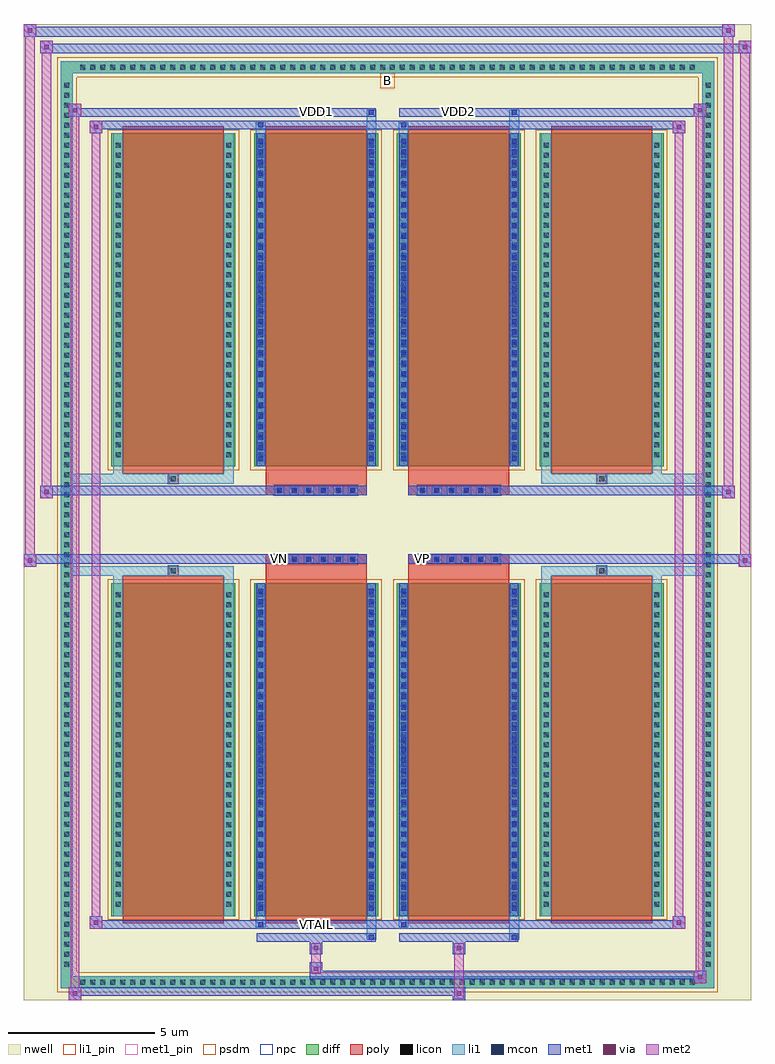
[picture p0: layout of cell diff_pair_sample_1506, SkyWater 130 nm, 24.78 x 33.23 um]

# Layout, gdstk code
import gdstk
lib = gdstk.Library(unit=1e-6, precision=5e-09)
def R(c, l, rs):  # rectangles x0, y0, x1, y1
    for r in rs: c.add(gdstk.rectangle(r[:2], r[2:], *l))
def A(c, l, x, y, w, h, nx, ny, dx, dy):  # array of equal rectangles
    R(c, l, [(x+i*dx, y+j*dy, x+i*dx+w, y+j*dy+h) for i in range(nx) for j in range(ny)])
def P(c, l, *ps):  # polygons
    for p in ps: c.add(gdstk.Polygon(p, *l))
nwell = (64, 20)
diff = (65, 20)
poly = (66, 20)
licon = (66, 44)
li1_pin = (67, 16)
li1 = (67, 20)
mcon = (67, 44)
met1_pin = (68, 16)
met1 = (68, 20)
via = (68, 44)
met2 = (69, 20)
psdm = (94, 20)
npc = (95, 20)

diff_pair_sample_1506 = lib.new_cell('diff_pair_sample_1506')
R(diff_pair_sample_1506, nwell, [(-12.39,-16.18,12.39,17.05), (-9.71,-14.37,-0.01,-0.805), (0.01,-14.37,9.71,-0.805), (-9.71,0.805,-0.01,14.37), (0.01,0.805,9.71,14.37)])
A(diff_pair_sample_1506, diff, -10.575, -15.78, 0.41, 0.41, 62, 2, 0.34, 31.15)
A(diff_pair_sample_1506, diff, -11.12, -15.165, 0.41, 0.41, 1, 89, 0, 0.34)
A(diff_pair_sample_1506, diff, 10.71, -15.165, 0.41, 0.41, 1, 89, 0, 0.34)
A(diff_pair_sample_1506, diff, -9.4, -13.325, 4.22, 11.34, 4, 2, 4.86, 15.31)
R(diff_pair_sample_1506, diff, [(-10.575,-15.78,10.575,-15.37), (-11.12,-15.165,-10.71,15.165), (10.71,-15.165,11.12,15.165), (-10.575,15.37,10.575,15.78)])
P(diff_pair_sample_1506, diff, [(11.12,15.78),(-11.12,15.78),(-11.12,-15.37),(-10.71,-15.37),(-10.71,15.37),(10.71,15.37),(10.71,-15.37),(-10.71,-15.37),(-11.12,-15.37),(-11.12,-15.78),(11.12,-15.78)])
A(diff_pair_sample_1506, poly, -9.01, -13.575, 3.44, 11.84, 4, 2, 4.86, 15.31)
A(diff_pair_sample_1506, poly, -3.845, -1.335, 0.33, 0.33, 6, 2, 0.5, 2.34)
A(diff_pair_sample_1506, poly, 1.015, -1.335, 0.33, 0.33, 6, 2, 0.5, 2.34)
R(diff_pair_sample_1506, poly, [(-7.455,-1.735,-7.125,-1.405), (-7.455,-1.735,-7.125,-1.405), (-4.15,-1.735,-0.71,-1.335), (0.71,-1.735,4.15,-1.335), (7.125,-1.735,7.455,-1.405), (7.125,-1.735,7.455,-1.405), (-4.15,-1.335,-0.71,-1.005), (0.71,-1.335,4.15,-1.005), (-4.15,1.005,-0.71,1.335), (0.71,1.005,4.15,1.335), (-4.15,1.335,-0.71,1.735), (0.71,1.335,4.15,1.735), (-7.455,1.405,-7.125,1.735), (-7.455,1.405,-7.125,1.735), (7.125,1.405,7.455,1.735), (7.125,1.405,7.455,1.735)])
A(diff_pair_sample_1506, licon, -10.455, -15.66, 0.17, 0.17, 62, 2, 0.34, 31.15)
A(diff_pair_sample_1506, licon, -11, -15.045, 0.17, 0.17, 1, 89, 0, 0.34)
A(diff_pair_sample_1506, licon, 10.83, -15.045, 0.17, 0.17, 1, 89, 0, 0.34)
A(diff_pair_sample_1506, licon, -9.26, -13.01, 0.17, 0.17, 1, 32, 0, 0.34)
A(diff_pair_sample_1506, licon, -5.49, -13.01, 0.17, 0.17, 1, 32, 0, 0.34)
A(diff_pair_sample_1506, licon, -4.4, -13.01, 0.17, 0.17, 1, 32, 0, 0.34)
A(diff_pair_sample_1506, licon, -0.63, -13.01, 0.17, 0.17, 1, 32, 0, 0.34)
A(diff_pair_sample_1506, licon, 0.46, -13.01, 0.17, 0.17, 1, 32, 0, 0.34)
A(diff_pair_sample_1506, licon, 4.23, -13.01, 0.17, 0.17, 1, 32, 0, 0.34)
A(diff_pair_sample_1506, licon, 5.32, -13.01, 0.17, 0.17, 1, 32, 0, 0.34)
A(diff_pair_sample_1506, licon, 9.09, -13.01, 0.17, 0.17, 1, 32, 0, 0.34)
A(diff_pair_sample_1506, licon, -3.765, -1.255, 0.17, 0.17, 6, 2, 0.5, 2.34)
A(diff_pair_sample_1506, licon, 1.095, -1.255, 0.17, 0.17, 6, 2, 0.5, 2.34)
A(diff_pair_sample_1506, licon, -9.26, 2.3, 0.17, 0.17, 1, 32, 0, 0.34)
A(diff_pair_sample_1506, licon, -5.49, 2.3, 0.17, 0.17, 1, 32, 0, 0.34)
A(diff_pair_sample_1506, licon, -4.4, 2.3, 0.17, 0.17, 1, 32, 0, 0.34)
A(diff_pair_sample_1506, licon, -0.63, 2.3, 0.17, 0.17, 1, 32, 0, 0.34)
A(diff_pair_sample_1506, licon, 0.46, 2.3, 0.17, 0.17, 1, 32, 0, 0.34)
A(diff_pair_sample_1506, licon, 4.23, 2.3, 0.17, 0.17, 1, 32, 0, 0.34)
A(diff_pair_sample_1506, licon, 5.32, 2.3, 0.17, 0.17, 1, 32, 0, 0.34)
A(diff_pair_sample_1506, licon, 9.09, 2.3, 0.17, 0.17, 1, 32, 0, 0.34)
R(diff_pair_sample_1506, licon, [(-7.375,-1.655,-7.205,-1.485), (7.205,-1.655,7.375,-1.485), (-7.375,1.485,-7.205,1.655), (7.205,1.485,7.375,1.655)])
R(diff_pair_sample_1506, li1_pin, [(-0.25,14.87,0.25,15.37)])
A(diff_pair_sample_1506, li1, -10.535, -15.74, 0.33, 0.33, 62, 2, 0.34, 31.15)
A(diff_pair_sample_1506, li1, -11.08, -15.125, 0.33, 0.33, 1, 89, 0, 0.34)
A(diff_pair_sample_1506, li1, 10.75, -15.125, 0.33, 0.33, 1, 89, 0, 0.34)
A(diff_pair_sample_1506, li1, -4.4, -13.14, 0.17, 0.17, 1, 31, 0, 0.36)
A(diff_pair_sample_1506, li1, -0.63, -13.14, 0.17, 0.17, 1, 31, 0, 0.36)
A(diff_pair_sample_1506, li1, 0.46, -13.14, 0.17, 0.17, 1, 31, 0, 0.36)
A(diff_pair_sample_1506, li1, 4.23, -13.14, 0.17, 0.17, 1, 31, 0, 0.36)
A(diff_pair_sample_1506, li1, -9.34, -13.09, 0.33, 0.33, 1, 32, 0, 0.34)
A(diff_pair_sample_1506, li1, -5.57, -13.09, 0.33, 0.33, 1, 32, 0, 0.34)
A(diff_pair_sample_1506, li1, -4.48, -13.09, 0.33, 0.33, 1, 32, 0, 0.34)
A(diff_pair_sample_1506, li1, -0.71, -13.09, 0.33, 0.33, 1, 32, 0, 0.34)
A(diff_pair_sample_1506, li1, 0.38, -13.09, 0.33, 0.33, 1, 32, 0, 0.34)
A(diff_pair_sample_1506, li1, 4.15, -13.09, 0.33, 0.33, 1, 32, 0, 0.34)
A(diff_pair_sample_1506, li1, 5.24, -13.09, 0.33, 0.33, 1, 32, 0, 0.34)
A(diff_pair_sample_1506, li1, 9.01, -13.09, 0.33, 0.33, 1, 32, 0, 0.34)
A(diff_pair_sample_1506, li1, -3.845, -1.335, 0.33, 0.33, 6, 2, 0.5, 2.34)
A(diff_pair_sample_1506, li1, 1.015, -1.335, 0.33, 0.33, 6, 2, 0.5, 2.34)
A(diff_pair_sample_1506, li1, -4.4, 2.17, 0.17, 0.17, 1, 31, 0, 0.36)
A(diff_pair_sample_1506, li1, -0.63, 2.17, 0.17, 0.17, 1, 31, 0, 0.36)
A(diff_pair_sample_1506, li1, 0.46, 2.17, 0.17, 0.17, 1, 31, 0, 0.36)
A(diff_pair_sample_1506, li1, 4.23, 2.17, 0.17, 0.17, 1, 31, 0, 0.36)
A(diff_pair_sample_1506, li1, -9.34, 2.22, 0.33, 0.33, 1, 32, 0, 0.34)
A(diff_pair_sample_1506, li1, -5.57, 2.22, 0.33, 0.33, 1, 32, 0, 0.34)
A(diff_pair_sample_1506, li1, -4.48, 2.22, 0.33, 0.33, 1, 32, 0, 0.34)
A(diff_pair_sample_1506, li1, -0.71, 2.22, 0.33, 0.33, 1, 32, 0, 0.34)
A(diff_pair_sample_1506, li1, 0.38, 2.22, 0.33, 0.33, 1, 32, 0, 0.34)
A(diff_pair_sample_1506, li1, 4.15, 2.22, 0.33, 0.33, 1, 32, 0, 0.34)
A(diff_pair_sample_1506, li1, 5.24, 2.22, 0.33, 0.33, 1, 32, 0, 0.34)
A(diff_pair_sample_1506, li1, 9.01, 2.22, 0.33, 0.33, 1, 32, 0, 0.34)
R(diff_pair_sample_1506, li1, [(-11.12,-15.78,-10.71,-15.37), (-11.12,-15.78,-10.71,-15.37), (-10.71,-15.78,10.71,-15.37), (10.71,-15.78,11.12,-15.37), (10.71,-15.78,11.12,-15.37), (-11.12,-15.37,-10.71,15.37), (10.71,-15.37,11.12,15.37), (-0.71,-14.13,-0.38,-13.325), (-0.63,-14.13,-0.46,-13.96), (4.15,-14.13,4.48,-13.325), (4.23,-14.13,4.4,-13.96), (-4.48,-13.7,-4.15,-13.325), (-4.4,-13.7,-4.23,-13.53), (0.38,-13.7,0.71,-13.325), (0.46,-13.7,0.63,-13.53), (-9.34,-13.325,-9.01,-1.985), (-5.57,-13.325,-5.24,-1.985), (-4.48,-13.325,-4.15,-1.985), (-0.71,-13.325,-0.38,-1.985), (0.38,-13.325,0.71,-1.985), (4.15,-13.325,4.48,-1.985), (5.24,-13.325,5.57,-1.985), (9.01,-13.325,9.34,-1.985), (-4.4,-13.14,-4.23,-2.17), (-0.63,-13.14,-0.46,-2.17), (0.46,-13.14,0.63,-2.17), (4.23,-13.14,4.4,-2.17), (-9.34,-1.985,-9.01,-1.405), (-5.57,-1.985,-5.24,-1.405), (5.24,-1.985,5.57,-1.405), (9.01,-1.985,9.34,-1.405), (-11.12,-1.735,-7.455,-1.405), (-9.34,-1.735,-7.455,-1.405), (-7.455,-1.735,-7.125,-1.405), (-7.125,-1.735,-5.24,-1.405), (5.24,-1.735,7.125,-1.405), (7.125,-1.735,7.455,-1.405), (7.125,-1.735,11.12,-1.405), (7.455,-1.735,9.34,-1.405), (-11.12,1.405,-7.455,1.735), (-9.34,1.405,-7.455,1.735), (-9.34,1.405,-9.01,1.985), (-7.455,1.405,-7.125,1.735), (-7.125,1.405,-5.24,1.735), (-5.57,1.405,-5.24,1.985), (5.24,1.405,7.125,1.735), (5.24,1.405,5.57,1.985), (7.125,1.405,7.455,1.735), (7.125,1.405,11.12,1.735), (7.455,1.405,9.34,1.735), (9.01,1.405,9.34,1.985), (-9.34,1.985,-9.01,13.325), (-5.57,1.985,-5.24,13.325), (-4.48,1.985,-4.15,13.325), (-0.71,1.985,-0.38,13.325), (0.38,1.985,0.71,13.325), (4.15,1.985,4.48,13.325), (5.24,1.985,5.57,13.325), (9.01,1.985,9.34,13.325), (-4.4,2.17,-4.23,13.14), (-0.63,2.17,-0.46,13.14), (0.46,2.17,0.63,13.14), (4.23,2.17,4.4,13.14), (-4.48,13.325,-4.15,13.7), (-0.71,13.325,-0.38,14.13), (0.38,13.325,0.71,13.7), (4.15,13.325,4.48,14.13), (-4.4,13.53,-4.23,13.7), (0.46,13.53,0.63,13.7), (-0.63,13.96,-0.46,14.13), (4.23,13.96,4.4,14.13), (-11.12,15.37,-10.71,15.78), (-11.12,15.37,-10.71,15.78), (-10.71,15.37,10.71,15.78), (10.71,15.37,11.12,15.78), (10.71,15.37,11.12,15.78)])
A(diff_pair_sample_1506, mcon, -4.4, -13.14, 0.17, 0.17, 1, 31, 0, 0.36)
A(diff_pair_sample_1506, mcon, -0.63, -13.14, 0.17, 0.17, 1, 31, 0, 0.36)
A(diff_pair_sample_1506, mcon, 0.46, -13.14, 0.17, 0.17, 1, 31, 0, 0.36)
A(diff_pair_sample_1506, mcon, 4.23, -13.14, 0.17, 0.17, 1, 31, 0, 0.36)
A(diff_pair_sample_1506, mcon, -3.765, -1.255, 0.17, 0.17, 6, 2, 0.5, 2.34)
A(diff_pair_sample_1506, mcon, 1.095, -1.255, 0.17, 0.17, 6, 2, 0.5, 2.34)
A(diff_pair_sample_1506, mcon, -4.4, 2.17, 0.17, 0.17, 1, 31, 0, 0.36)
A(diff_pair_sample_1506, mcon, -0.63, 2.17, 0.17, 0.17, 1, 31, 0, 0.36)
A(diff_pair_sample_1506, mcon, 0.46, 2.17, 0.17, 0.17, 1, 31, 0, 0.36)
A(diff_pair_sample_1506, mcon, 4.23, 2.17, 0.17, 0.17, 1, 31, 0, 0.36)
R(diff_pair_sample_1506, mcon, [(-0.63,-14.13,-0.46,-13.96), (4.23,-14.13,4.4,-13.96), (-4.4,-13.7,-4.23,-13.53), (0.46,-13.7,0.63,-13.53), (-4.4,13.53,-4.23,13.7), (0.46,13.53,0.63,13.7), (-0.63,13.96,-0.46,14.13), (4.23,13.96,4.4,14.13)])
R(diff_pair_sample_1506, met1_pin, [(-2.565,-13.74,-2.295,-13.47), (-3.815,-1.295,-3.545,-1.025), (1.045,-1.295,1.315,-1.025), (-2.565,13.92,-2.295,14.19), (2.295,13.92,2.565,14.19)])
A(diff_pair_sample_1506, met1, -4.46, -13.2, 0.29, 0.29, 1, 31, 0, 0.36)
A(diff_pair_sample_1506, met1, -0.69, -13.2, 0.29, 0.29, 1, 31, 0, 0.36)
A(diff_pair_sample_1506, met1, 0.4, -13.2, 0.29, 0.29, 1, 31, 0, 0.36)
A(diff_pair_sample_1506, met1, 4.17, -13.2, 0.29, 0.29, 1, 31, 0, 0.36)
A(diff_pair_sample_1506, met1, -3.825, -1.315, 0.29, 0.29, 6, 2, 0.5, 2.34)
A(diff_pair_sample_1506, met1, 1.035, -1.315, 0.29, 0.29, 6, 2, 0.5, 2.34)
A(diff_pair_sample_1506, met1, -4.46, 2.11, 0.29, 0.29, 1, 31, 0, 0.36)
A(diff_pair_sample_1506, met1, -0.69, 2.11, 0.29, 0.29, 1, 31, 0, 0.36)
A(diff_pair_sample_1506, met1, 0.4, 2.11, 0.29, 0.29, 1, 31, 0, 0.36)
A(diff_pair_sample_1506, met1, 4.17, 2.11, 0.29, 0.29, 1, 31, 0, 0.36)
R(diff_pair_sample_1506, met1, [(-10.85,-16.18,-10.42,-15.75), (2.215,-16.18,2.645,-15.75), (-10.85,-16.04,2.645,-15.75), (10.42,-15.61,10.85,-15.18), (-2.645,-15.47,10.85,-15.18), (-2.645,-15.33,-2.215,-14.9), (-2.645,-14.62,-2.215,-14.19), (2.215,-14.62,2.645,-14.19), (-4.46,-14.19,-0.4,-13.9), (-0.69,-14.19,-0.4,-13.9), (0.4,-14.19,4.46,-13.9), (4.17,-14.19,4.46,-13.9), (-10.14,-13.76,-9.71,-13.33), (-10.14,-13.76,-4.46,-13.47), (-4.46,-13.76,-4.17,-13.47), (-4.46,-13.76,-0.4,-13.47), (-0.4,-13.76,0.4,-13.47), (0.4,-13.76,0.69,-13.47), (0.4,-13.76,4.46,-13.47), (4.46,-13.76,10.14,-13.47), (9.71,-13.76,10.14,-13.33), (-4.46,-13.325,-4.17,-1.985), (-0.69,-13.325,-0.4,-1.985), (0.4,-13.325,0.69,-1.985), (4.17,-13.325,4.46,-1.985), (-12.39,-1.435,-11.96,-1.005), (11.96,-1.435,12.39,-1.005), (-12.39,-1.335,-0.71,-1.005), (-4.15,-1.335,-0.71,-1.005), (0.71,-1.335,4.15,-1.005), (0.71,-1.335,12.39,-1.005), (-11.82,0.905,-11.39,1.335), (11.39,0.905,11.82,1.335), (-11.82,1.005,-4.15,1.335), (-4.15,1.005,-0.71,1.335), (0.71,1.005,4.15,1.335), (4.15,1.005,11.82,1.335), (-4.46,1.985,-4.17,13.325), (-0.69,1.985,-0.4,13.325), (0.4,1.985,0.69,13.325), (4.17,1.985,4.46,13.325), (-10.14,13.33,-9.71,13.76), (9.71,13.33,10.14,13.76), (-10.14,13.47,-4.46,13.76), (-4.46,13.47,-4.17,13.76), (-4.46,13.47,-0.4,13.76), (-0.4,13.47,0.4,13.76), (0.4,13.47,0.69,13.76), (0.4,13.47,4.46,13.76), (4.46,13.47,10.14,13.76), (-10.85,13.9,-10.42,14.33), (-10.85,13.9,-4.46,14.19), (-4.46,13.9,-0.4,14.19), (-0.69,13.9,-0.4,14.19), (0.4,13.9,4.46,14.19), (4.17,13.9,4.46,14.19), (4.46,13.9,10.85,14.19), (10.42,13.9,10.85,14.33), (-11.82,16.05,-11.39,16.48), (-11.82,16.05,-9.71,16.38), (-9.71,16.05,9.71,16.38), (9.71,16.05,12.39,16.38), (11.96,16.05,12.39,16.48), (-12.39,16.62,-11.96,17.05), (-12.39,16.62,-9.71,16.95), (-9.71,16.62,9.71,16.95), (9.71,16.62,11.82,16.95), (11.39,16.62,11.82,17.05)])
R(diff_pair_sample_1506, via, [(-10.71,-16.04,-10.56,-15.89), (2.355,-16.04,2.505,-15.89), (10.56,-15.47,10.71,-15.32), (-2.505,-15.19,-2.355,-15.04), (-2.505,-14.48,-2.355,-14.33), (2.355,-14.48,2.505,-14.33), (-10,-13.62,-9.85,-13.47), (9.85,-13.62,10,-13.47), (-12.25,-1.295,-12.1,-1.145), (12.1,-1.295,12.25,-1.145), (-11.68,1.045,-11.53,1.195), (11.53,1.045,11.68,1.195), (-10,13.47,-9.85,13.62), (9.85,13.47,10,13.62), (-10.71,14.04,-10.56,14.19), (10.56,14.04,10.71,14.19), (-11.68,16.19,-11.53,16.34), (12.1,16.19,12.25,16.34), (-12.25,16.76,-12.1,16.91), (11.53,16.76,11.68,16.91)])
R(diff_pair_sample_1506, met2, [(-10.85,-16.18,-10.42,-15.75), (-10.78,-16.18,-10.49,14.33), (-10.49,-16.18,-10.42,-15.75), (-10.8,-16.13,-10.47,-15.8), (2.265,-16.13,2.595,-15.8), (2.265,-15.8,2.595,-14.57), (10.42,-15.61,10.85,-15.18), (10.49,-15.61,10.78,14.33), (10.78,-15.61,10.85,-15.18), (10.47,-15.56,10.8,-15.23), (-2.595,-15.28,-2.265,-14.95), (-2.595,-14.95,-2.265,-14.57), (-2.595,-14.57,-2.265,-14.24), (2.265,-14.57,2.595,-14.24), (-10.14,-13.76,-9.71,-13.33), (-10.07,-13.76,-9.78,13.76), (-9.78,-13.76,-9.71,-13.33), (9.71,-13.76,10.14,-13.33), (9.78,-13.76,10.07,13.76), (10.07,-13.76,10.14,-13.33), (-10.09,-13.71,-9.76,-13.38), (9.76,-13.71,10.09,-13.38), (-12.39,-1.435,-11.96,-1.005), (-12.34,-1.435,-12.01,17.05), (-12.01,-1.435,-11.96,-1.005), (11.96,-1.435,12.39,-1.005), (12.01,-1.435,12.34,16.48), (12.34,-1.435,12.39,-1.005), (-12.34,-1.385,-12.01,-1.055), (12.01,-1.385,12.34,-1.055), (-11.82,0.905,-11.39,1.335), (-11.77,0.905,-11.44,16.48), (-11.44,0.905,-11.39,1.335), (11.39,0.905,11.82,1.335), (11.44,0.905,11.77,17.05), (11.77,0.905,11.82,1.335), (-11.77,0.955,-11.44,1.285), (11.44,0.955,11.77,1.285), (-10.14,13.33,-9.71,13.76), (-9.78,13.33,-9.71,13.76), (9.71,13.33,10.14,13.76), (10.07,13.33,10.14,13.76), (-10.09,13.38,-9.76,13.71), (9.76,13.38,10.09,13.71), (-10.85,13.9,-10.42,14.33), (-10.49,13.9,-10.42,14.33), (10.42,13.9,10.85,14.33), (10.78,13.9,10.85,14.33), (-10.8,13.95,-10.47,14.28), (10.47,13.95,10.8,14.28), (-11.82,16.05,-11.39,16.48), (-11.44,16.05,-11.39,16.48), (11.96,16.05,12.39,16.48), (12.34,16.05,12.39,16.48), (-11.77,16.1,-11.44,16.43), (12.01,16.1,12.34,16.43), (-12.39,16.62,-11.96,17.05), (-12.01,16.62,-11.96,17.05), (11.39,16.62,11.82,17.05), (11.77,16.62,11.82,17.05), (-12.34,16.67,-12.01,17), (11.44,16.67,11.77,17)])
A(diff_pair_sample_1506, psdm, -9.53, -13.455, 4.48, 11.6, 4, 2, 4.86, 15.31)
P(diff_pair_sample_1506, psdm, [(11.25,15.91),(-11.25,15.91),(-11.25,-15.24),(-10.58,-15.24),(-10.58,15.24),(10.58,15.24),(10.58,-15.24),(-10.58,-15.24),(-11.25,-15.24),(-11.25,-15.91),(11.25,-15.91)])
A(diff_pair_sample_1506, npc, -3.865, -1.355, 0.37, 0.37, 6, 2, 0.5, 2.34)
A(diff_pair_sample_1506, npc, 0.995, -1.355, 0.37, 0.37, 6, 2, 0.5, 2.34)
R(diff_pair_sample_1506, npc, [(-7.475,-1.755,-7.105,-1.385), (7.105,-1.755,7.475,-1.385), (-3.865,-1.355,-2.995,-0.985), (-3.865,-1.355,-2.995,-0.985), (-3.365,-1.355,-2.495,-0.985), (-3.365,-1.355,-2.495,-0.985), (-2.865,-1.355,-1.995,-0.985), (-2.865,-1.355,-1.995,-0.985), (-2.365,-1.355,-1.495,-0.985), (-2.365,-1.355,-1.495,-0.985), (-1.865,-1.355,-0.995,-0.985), (-1.865,-1.355,-0.995,-0.985), (0.995,-1.355,1.865,-0.985), (0.995,-1.355,1.865,-0.985), (1.495,-1.355,2.365,-0.985), (1.495,-1.355,2.365,-0.985), (1.995,-1.355,2.865,-0.985), (1.995,-1.355,2.865,-0.985), (2.495,-1.355,3.365,-0.985), (2.495,-1.355,3.365,-0.985), (2.995,-1.355,3.865,-0.985), (2.995,-1.355,3.865,-0.985), (-3.865,0.985,-2.995,1.355), (-3.865,0.985,-2.995,1.355), (-3.365,0.985,-2.495,1.355), (-3.365,0.985,-2.495,1.355), (-2.865,0.985,-1.995,1.355), (-2.865,0.985,-1.995,1.355), (-2.365,0.985,-1.495,1.355), (-2.365,0.985,-1.495,1.355), (-1.865,0.985,-0.995,1.355), (-1.865,0.985,-0.995,1.355), (0.995,0.985,1.865,1.355), (0.995,0.985,1.865,1.355), (1.495,0.985,2.365,1.355), (1.495,0.985,2.365,1.355), (1.995,0.985,2.865,1.355), (1.995,0.985,2.865,1.355), (2.495,0.985,3.365,1.355), (2.495,0.985,3.365,1.355), (2.995,0.985,3.865,1.355), (2.995,0.985,3.865,1.355), (-7.475,1.385,-7.105,1.755), (7.105,1.385,7.475,1.755)])
diff_pair_sample_1506.add(gdstk.Label('VTAIL', (-2.43,-13.605), layer=68, texttype=5))
diff_pair_sample_1506.add(gdstk.Label('VN', (-3.68,-1.16), layer=68, texttype=5))
diff_pair_sample_1506.add(gdstk.Label('VP', (1.18,-1.16), layer=68, texttype=5))
diff_pair_sample_1506.add(gdstk.Label('B', (0,15.12), layer=67, texttype=5))
diff_pair_sample_1506.add(gdstk.Label('VDD2', (2.43,14.055), layer=68, texttype=5))
diff_pair_sample_1506.add(gdstk.Label('VDD1', (-2.43,14.055), layer=68, texttype=5))

lib.write_gds('diff_pair_sample_1506.gds')
